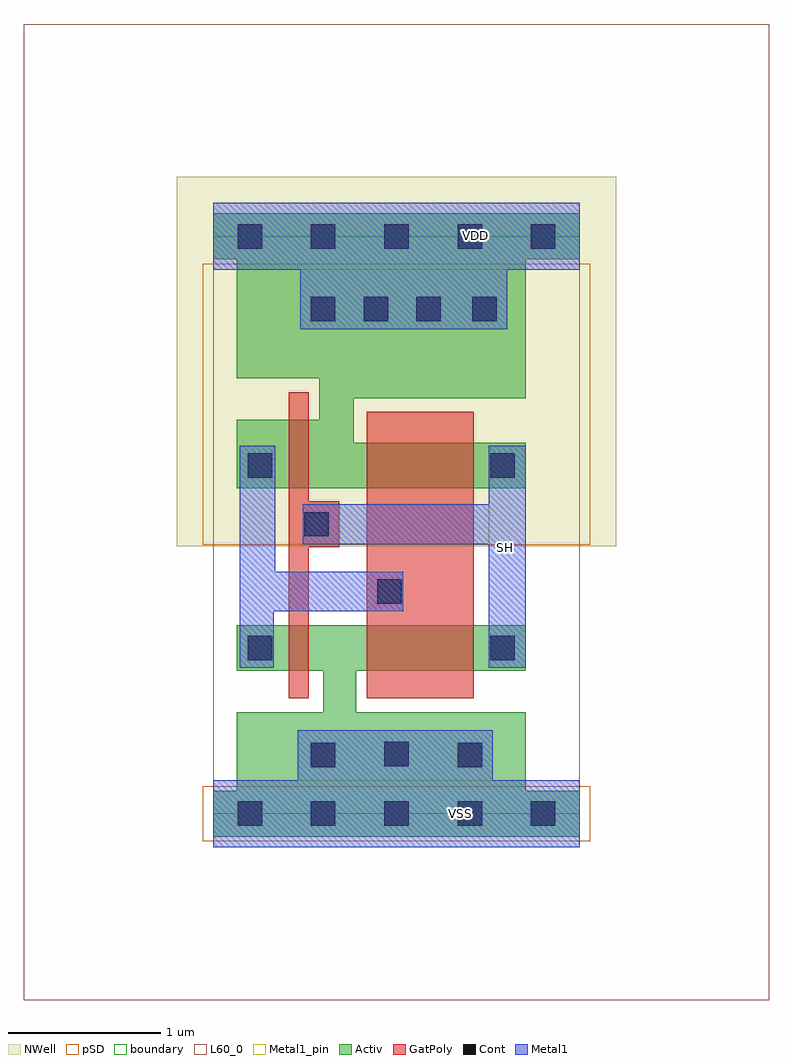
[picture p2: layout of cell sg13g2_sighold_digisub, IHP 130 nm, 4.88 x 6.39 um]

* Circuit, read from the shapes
.subckt sg13g2_sighold_digisub SH VDD VSS
XM1 VSS SH n1 VSS sg13_lv_nmos w=0.3u l=0.13u
XM2 SH n1 VSS VSS sg13_lv_nmos w=0.3u l=0.7u
XM3 VDD SH n1 VDD sg13_lv_pmos w=0.45u l=0.13u
XM4 SH n1 VDD VDD sg13_lv_pmos w=0.3u l=0.7u
.ends

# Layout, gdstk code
import gdstk
lib = gdstk.Library(unit=1e-6, precision=1e-09)
def R(c, l, rs):  # rectangles x0, y0, x1, y1
    for r in rs: c.add(gdstk.rectangle(r[:2], r[2:], *l))
def A(c, l, x, y, w, h, nx, ny, dx, dy):  # array of equal rectangles
    R(c, l, [(x+i*dx, y+j*dy, x+i*dx+w, y+j*dy+h) for i in range(nx) for j in range(ny)])
def P(c, l, *ps):  # polygons
    for p in ps: c.add(gdstk.Polygon(p, *l))
Activ = (1, 0)
GatPoly = (5, 0)
Cont = (6, 0)
Metal1 = (8, 0)
Metal1_pin = (8, 2)
pSD = (14, 0)
NWell = (31, 0)
L60_0 = (60, 0)
boundary = (189, 4)

sg13g2_sighold_digisub = lib.new_cell('sg13g2_sighold_digisub')
P(sg13g2_sighold_digisub, Activ, [(2.4,3.93),(0,3.93),(0,3.63),(0.155,3.63),(0.155,2.85),(0.695,2.85),(0.695,2.58),(0.155,2.58),(0.155,2.13),(2.045,2.13),(2.045,2.43),(0.92,2.43),(0.92,2.72),(2.045,2.72),(2.045,3.63),(2.4,3.63)],
  [(2.4,0.15),(2.045,0.15),(2.045,0.665),(0.935,0.665),(0.935,0.935),(2.045,0.935),(2.045,1.235),(0.155,1.235),(0.155,0.935),(0.72,0.935),(0.72,0.665),(0.155,0.665),(0.155,0.15),(0,0.15),(0,-0.15),(2.4,-0.15)])
R(sg13g2_sighold_digisub, GatPoly, [(1.005,0.755,1.705,2.63)])
P(sg13g2_sighold_digisub, GatPoly, [(0.825,2.045),(0.625,2.045),(0.625,2.76),(0.495,2.76),(0.495,0.755),(0.625,0.755),(0.625,1.745),(0.825,1.745)])
A(sg13g2_sighold_digisub, Cont, 0.64, 3.225, 0.16, 0.16, 3, 1, 0.345, 0)
R(sg13g2_sighold_digisub, Cont, [(0.16,-0.08,0.32,0.08), (0.16,-0.08,0.32,0.08), (0.64,-0.08,0.8,0.08), (0.64,-0.08,0.8,0.08), (1.12,-0.08,1.28,0.08), (1.12,-0.08,1.28,0.08), (1.6,-0.08,1.76,0.08), (1.6,-0.08,1.76,0.08), (2.08,-0.08,2.24,0.08), (2.08,-0.08,2.24,0.08), (0.64,0.305,0.8,0.465), (1.6,0.305,1.76,0.465), (1.12,0.31,1.28,0.47), (0.225,1.005,0.385,1.165), (1.815,1.005,1.975,1.165), (1.075,1.375,1.235,1.535), (0.595,1.815,0.755,1.975), (0.225,2.2,0.385,2.36), (1.815,2.2,1.975,2.36), (1.695,3.225,1.855,3.385), (0.16,3.7,0.32,3.86), (0.16,3.7,0.32,3.86), (0.64,3.7,0.8,3.86), (0.64,3.7,0.8,3.86), (1.12,3.7,1.28,3.86), (1.12,3.7,1.28,3.86), (1.6,3.7,1.76,3.86), (1.6,3.7,1.76,3.86), (2.08,3.7,2.24,3.86), (2.08,3.7,2.24,3.86)])
P(sg13g2_sighold_digisub, Metal1, [(2.4,4),(0,4),(0,3.56),(0.57,3.56),(0.57,3.17),(1.925,3.17),(1.925,3.56),(2.4,3.56)],
  [(2.4,0.22),(1.83,0.22),(1.83,0.545),(0.555,0.545),(0.555,0.22),(0,0.22),(0,-0.22),(2.4,-0.22)],
  [(2.045,2.41),(1.805,2.41),(1.805,2.025),(0.585,2.025),(0.585,1.765),(1.805,1.765),(1.805,0.955),(2.045,0.955)],
  [(1.245,1.585),(0.405,1.585),(0.405,2.41),(0.175,2.41),(0.175,0.955),(0.395,0.955),(0.395,1.325),(1.245,1.325)])
R(sg13g2_sighold_digisub, Metal1_pin, [(0,-0.22,2.4,0.22), (1.805,0.955,2.045,2.41), (0,3.56,2.4,4)])
R(sg13g2_sighold_digisub, pSD, [(-0.07,-0.18,2.47,0.18), (-0.07,1.76,2.47,3.6)])
R(sg13g2_sighold_digisub, NWell, [(-0.24,1.75,2.64,4.17)])
R(sg13g2_sighold_digisub, L60_0, [(-1.24,-1.22,3.64,5.17)])
R(sg13g2_sighold_digisub, boundary, [(0,0,2.4,3.78)])
sg13g2_sighold_digisub.add(gdstk.Label('SH', (1.915,1.74), layer=8, texttype=25))
sg13g2_sighold_digisub.add(gdstk.Label('VDD', (1.715,3.785), layer=8, texttype=25))
sg13g2_sighold_digisub.add(gdstk.Label('VSS', (1.62,0), layer=8, texttype=25))

lib.write_gds('sg13g2_sighold_digisub.gds')
